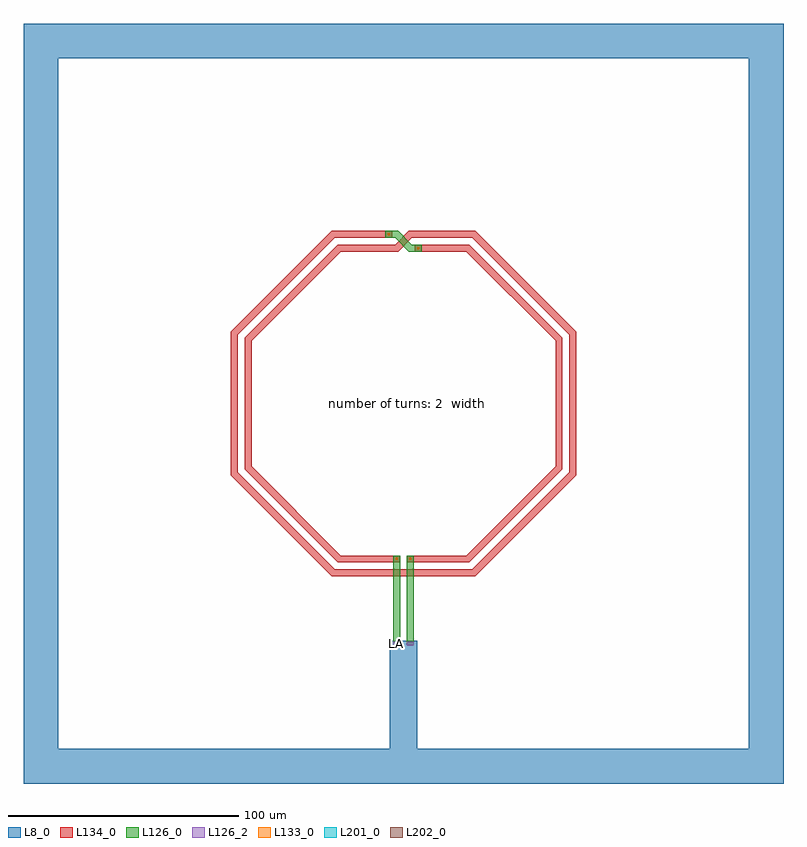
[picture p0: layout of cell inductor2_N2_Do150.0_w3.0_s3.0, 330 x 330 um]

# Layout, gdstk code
import gdstk
lib = gdstk.Library(unit=1e-6, precision=1e-09)
def R(c, l, rs):  # rectangles x0, y0, x1, y1
    for r in rs: c.add(gdstk.rectangle(r[:2], r[2:], *l))
def P(c, l, *ps):  # polygons
    for p in ps: c.add(gdstk.Polygon(p, *l))
L8_0 = (8, 0)
L126_0 = (126, 0)
L126_2 = (126, 2)
L133_0 = (133, 0)
L134_0 = (134, 0)
L201_0 = (201, 0)
L202_0 = (202, 0)

inductor2_n2_do150_0_w3_ = lib.new_cell('inductor2_N2_Do150.0_w3.0_s3.0')
R(inductor2_n2_do150_0_w3_, L8_0, [(-165,-165,-150,165), (-150,-165,150,-150), (150,-165,165,165), (-6,-150,6,-103), (-150,150,150,165)])
R(inductor2_n2_do150_0_w3_, L126_0, [(-4.5,-105,-1.5,-66), (1.5,-105,4.5,-66)])
P(inductor2_n2_do150_0_w3_, L126_0, [(-7.86,75),(-7.86,72),(-3.621,72),(2.379,66),(7.86,66),(7.86,69),(3.621,69),(-2.379,75)])
R(inductor2_n2_do150_0_w3_, L126_2, [(-4.5,-105,-1.5,-103.5), (1.5,-105,4.5,-103.5)])
R(inductor2_n2_do150_0_w3_, L133_0, [(-3.45,-67.95,-2.55,-67.05), (2.55,-67.95,3.45,-67.05), (5.92,67.05,6.82,67.95), (-6.82,73.05,-5.92,73.95)])
R(inductor2_n2_do150_0_w3_, L134_0, [(-7.865,-75,7.865,-72)])
P(inductor2_n2_do150_0_w3_, L134_0, [(-4.86,-75),(-4.86,-72),(-29.819,-72),(-72,-29.819),(-72,3),(-75,3),(-75,-31.061),(-31.061,-75)],
  [(-4.86,72),(-4.86,75),(-31.061,75),(-75,31.061),(-75,-3),(-72,-3),(-72,29.819),(-29.819,72)],
  [(4.86,-72),(4.86,-75),(31.061,-75),(75,-31.061),(75,3),(72,3),(72,-29.819),(29.819,-72)],
  [(4.86,75),(4.86,72),(29.819,72),(72,29.819),(72,-3),(75,-3),(75,31.061),(31.061,75)],
  [(-1.5,-69),(-1.5,-66),(-27.339,-66),(-66,-27.339),(-66,3),(-69,3),(-69,-28.581),(-28.581,-69)],
  [(-4.86,66),(-4.86,69),(-28.581,69),(-69,28.581),(-69,-3),(-66,-3),(-66,27.339),(-27.339,66)],
  [(1.5,-66),(1.5,-69),(28.581,-69),(69,-28.581),(69,3),(66,3),(66,-27.339),(27.339,-66)],
  [(4.86,69),(4.86,66),(27.339,66),(66,27.339),(66,-3),(69,-3),(69,28.581),(28.581,69)],
  [(-7.86,69),(-7.86,66),(-2.379,66),(3.621,72),(7.86,72),(7.86,75),(2.379,75),(-3.621,69)])
R(inductor2_n2_do150_0_w3_, L201_0, [(-4.5,-105,-1.5,-104.9)])
R(inductor2_n2_do150_0_w3_, L202_0, [(1.5,-105,4.5,-104.9)])
inductor2_n2_do150_0_w3_.add(gdstk.Label('LA', (-3,-104.25), layer=27, texttype=25))
inductor2_n2_do150_0_w3_.add(gdstk.Label('LB', (3,-104.25), layer=27, texttype=25))
inductor2_n2_do150_0_w3_.add(gdstk.Label('  number of turns: 2\n  width: 3.00\n  spacing: 3.00\n  outer diameter: 150.00\n  inner diameter: 132.00\n', (0,0), layer=63, texttype=0))

lib.write_gds('inductor2_N2_Do150.0_w3.0_s3.0.gds')
